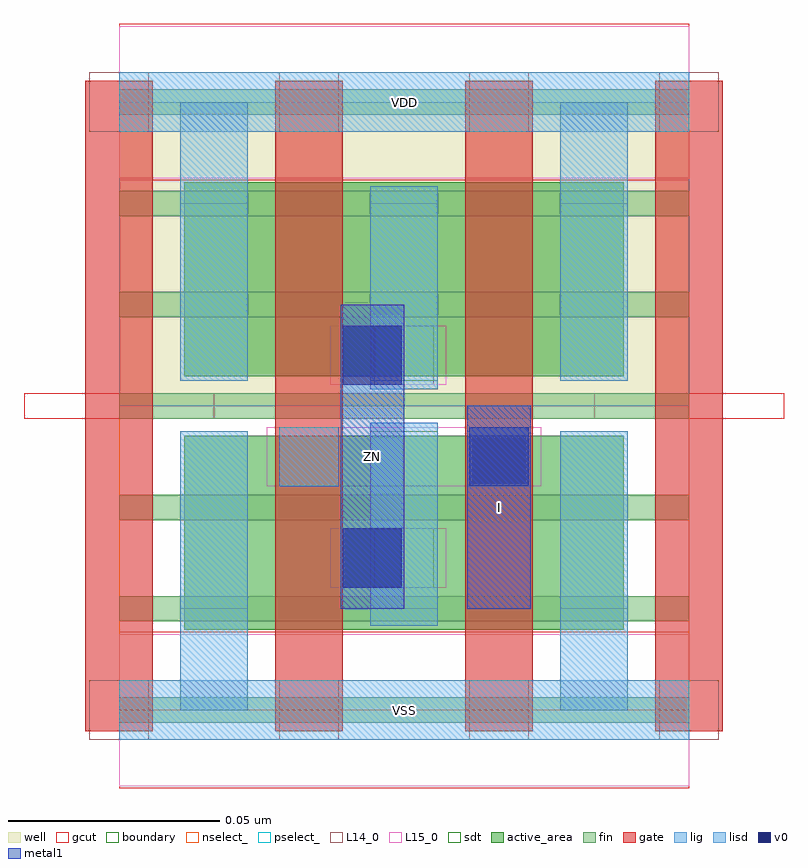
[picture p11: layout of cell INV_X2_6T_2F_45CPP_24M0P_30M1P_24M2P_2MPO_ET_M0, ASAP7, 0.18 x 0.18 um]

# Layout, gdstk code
import gdstk
lib = gdstk.Library(unit=1e-6, precision=2.5e-10)
def R(c, l, rs):  # rectangles x0, y0, x1, y1
    for r in rs: c.add(gdstk.rectangle(r[:2], r[2:], *l))
def A(c, l, x, y, w, h, nx, ny, dx, dy):  # array of equal rectangles
    R(c, l, [(x+i*dx, y+j*dy, x+i*dx+w, y+j*dy+h) for i in range(nx) for j in range(ny)])
well = (1, 0)
fin = (2, 0)
gate = (7, 0)
gcut = (10, 0)
active_area = (11, 0)
nselect_ = (12, 0)
pselect_ = (13, 0)
L14_0 = (14, 0)
L15_0 = (15, 0)
lig = (16, 0)
lisd = (17, 0)
v0 = (18, 0)
metal1 = (19, 0)
sdt = (88, 0)
boundary = (100, 0)

inv_x2_6t_2f_45cpp_24m0p = lib.new_cell('INV_X2_6T_2F_45CPP_24M0P_30M1P_24M2P_2MPO_ET_M0')
R(inv_x2_6t_2f_45cpp_24m0p, well, [(0,0.072,0.135,0.144)])
A(inv_x2_6t_2f_45cpp_24m0p, fin, 0, -0.003, 0.135, 0.006, 1, 7, 0, 0.024)
A(inv_x2_6t_2f_45cpp_24m0p, gate, -0.008, -0.005, 0.016, 0.154, 4, 1, 0.045, 0)
R(inv_x2_6t_2f_45cpp_24m0p, gcut, [(0,-0.0185,0.135,0.0185), (-0.0225,0.069,0.0225,0.075), (0.1125,0.069,0.1575,0.075), (0,0.1255,0.135,0.1625)])
R(inv_x2_6t_2f_45cpp_24m0p, active_area, [(0.0155,0.019,0.1195,0.065), (0.0155,0.079,0.1195,0.125)])
R(inv_x2_6t_2f_45cpp_24m0p, nselect_, [(0,0,0.135,0.072)])
R(inv_x2_6t_2f_45cpp_24m0p, pselect_, [(0,0.072,0.135,0.144)])
A(inv_x2_6t_2f_45cpp_24m0p, L14_0, -0.007, -0.007, 0.014, 0.014, 4, 2, 0.045, 0.144)
R(inv_x2_6t_2f_45cpp_24m0p, L14_0, [(0.0605,0.029,0.0745,0.043), (0.038,0.053,0.052,0.067), (0.083,0.053,0.097,0.067), (0.0605,0.077,0.0745,0.091)])
R(inv_x2_6t_2f_45cpp_24m0p, L15_0, [(0,-0.018,0.135,0.018), (0.05,0.029,0.0775,0.043), (0.035,0.053,0.1,0.067), (0.05,0.077,0.0775,0.091), (0,0.126,0.135,0.162)])
R(inv_x2_6t_2f_45cpp_24m0p, lig, [(0,-0.007,0.135,0.007), (0.038,0.053,0.052,0.067), (0.083,0.053,0.097,0.067), (0,0.137,0.135,0.151)])
R(inv_x2_6t_2f_45cpp_24m0p, lisd, [(0.0145,0,0.0305,0.066), (0.1045,0,0.1205,0.066), (0.0595,0.02,0.0755,0.068), (0.0595,0.076,0.0755,0.124), (0.0145,0.078,0.0305,0.144), (0.1045,0.078,0.1205,0.144)])
R(inv_x2_6t_2f_45cpp_24m0p, v0, [(0.053,0.029,0.067,0.043), (0.083,0.053,0.097,0.067), (0.053,0.077,0.067,0.091)])
R(inv_x2_6t_2f_45cpp_24m0p, metal1, [(0.0525,0.024,0.0675,0.096), (0.0825,0.024,0.0975,0.072)])
A(inv_x2_6t_2f_45cpp_24m0p, sdt, 0.0145, 0.024, 0.016, 0.042, 3, 2, 0.045, 0.054)
R(inv_x2_6t_2f_45cpp_24m0p, boundary, [(0,0,0.135,0.144)])
inv_x2_6t_2f_45cpp_24m0p.add(gdstk.Label('ZN', (0.06,0.06), layer=19, texttype=251))
inv_x2_6t_2f_45cpp_24m0p.add(gdstk.Label('I', (0.09,0.048), layer=19, texttype=251))
inv_x2_6t_2f_45cpp_24m0p.add(gdstk.Label('VDD', (0.0675,0.144), layer=15, texttype=251))
inv_x2_6t_2f_45cpp_24m0p.add(gdstk.Label('VSS', (0.0675,0), layer=15, texttype=251))
inv_x2_6t_2f_45cpp_24m0p.add(gdstk.Label('VDD', (0.0675,0.144), layer=1, texttype=251))
inv_x2_6t_2f_45cpp_24m0p.add(gdstk.Label('VSS', (0.0675,0), layer=3, texttype=251))

lib.write_gds('INV_X2_6T_2F_45CPP_24M0P_30M1P_24M2P_2MPO_ET_M0.gds')
